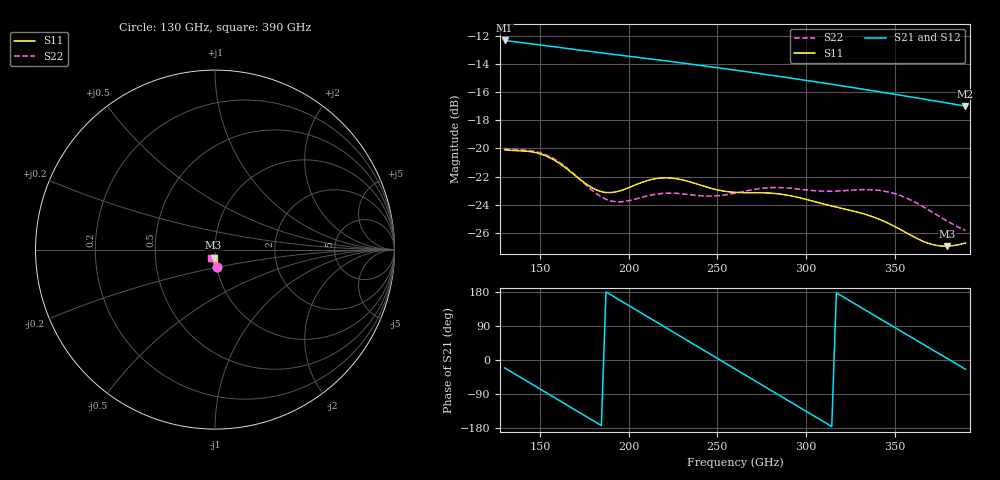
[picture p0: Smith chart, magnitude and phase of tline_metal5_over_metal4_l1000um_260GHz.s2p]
#  GHZ S DB R 50
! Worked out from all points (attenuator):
!   101 points, 130 GHz to 390 GHz, reference 50 ohm
!   highest |S21| = -12.30 dB at 130 GHz (marker M1); lowest = -17.0 dB at 390 GHz (marker M2)
!   lowest |S11| = -27.0 dB at 379.6 GHz (marker M3), VSWR 1.09, Z = 49 - j4.34 ohm
!   |S11| at or under -10 dB: start of sweep to end of sweep
!   |S22| runs from -25.8 to -20.0 dB; largest |S21 - S12| = 1.7e-13
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130  -20.09 -82.7  -12.30 -20.8  -12.30 -20.8  -20.00 -84.4
143  -20.20 -83.4  -12.51 -57.0  -12.51 -57.0  -20.13 -85.3
153.4  -20.53 -87.0  -12.68 -86.0  -12.68 -86.0  -20.45 -89.3
163.8  -21.32 -90.2  -12.85 -115.1  -12.85 -115.1  -21.25 -93.3
174.2  -22.36 -90.1  -13.02 -144.1  -13.02 -144.1  -22.41 -94.6
184.6  -23.08 -86.0  -13.19 -173.1  -13.19 -173.1  -23.45 -91.4
195  -23.02 -81.4  -13.35 157.9  -13.35 157.9  -23.80 -86.0
208  -22.39 -80.8  -13.55 121.7  -13.55 121.7  -23.46 -82.6
218.4  -22.10 -84.1  -13.72 92.6  -13.72 92.6  -23.21 -83.3
228.8  -22.20 -88.1  -13.88 63.6  -13.88 63.6  -23.22 -84.9
241.8  -22.66 -91.4  -14.10 27.2  -14.10 27.2  -23.38 -85.6
260  -23.13 -92.4  -14.42 -23.5  -14.42 -23.5  -23.19 -85.5
280.8  -23.19 -95.6  -14.79 -81.5  -14.79 -81.5  -22.79 -90.1
291.2  -23.37 -98.3  -14.98 -110.5  -14.98 -110.5  -22.83 -93.2
304.2  -23.76 -101.0  -15.22 -146.7  -15.22 -146.7  -23.00 -96.0
314.6  -24.10 -102.6  -15.43 -175.6  -15.43 -175.6  -23.04 -97.7
325  -24.41 -104.0  -15.63 155.5  -15.63 155.5  -22.98 -100.1
338  -24.88 -106.2  -15.89 119.5  -15.89 119.5  -22.95 -104.8
348.4  -25.45 -107.6  -16.10 90.6  -16.10 90.6  -23.16 -109.6
366.6  -26.64 -105.3  -16.48 40.3  -16.48 40.3  -24.18 -116.8
379.6  -26.96 -100.1  -16.76 4.4  -16.76 4.4  -25.17 -118.8
390  -26.74 -97.1  -16.98 -24.3  -16.98 -24.3  -25.84 -118.5
